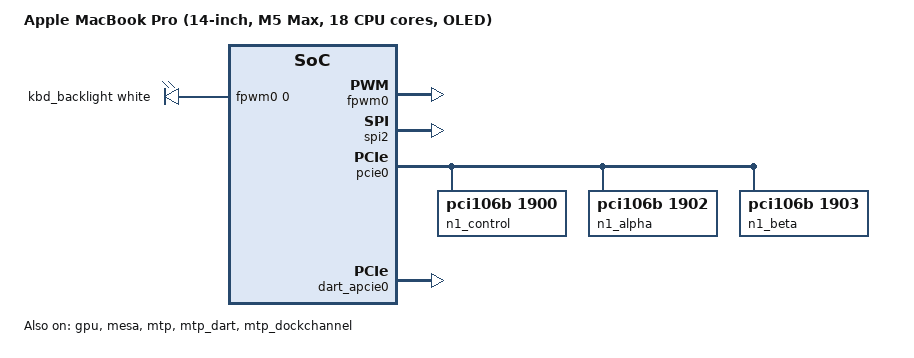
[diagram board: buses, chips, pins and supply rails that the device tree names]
// SPDX-License-Identifier: GPL-2.0+ OR MIT
/*
 * Apple MacBook Pro (14-inch, M5 Max, 18 CPU cores, OLED)
 *
 * target-type: K114c
 *
 * Initial RAM boot resources measured on the K114c (ADT ioreg gather of
 * 2026-11-10). The loader supplies usable memory, CPU release addresses and
 * framebuffer geometry. Peripheral power domains come from t6050-pmgr.dtsi;
 * the framebuffer holds the display domain.
 *
 * Compared with Edi Moldovan's J714c this board file leaves out, with
 * reasons:
 * - the DCP display pipeline (his t6050-j714c-display.dtsi): the console
 *   runs on the simple framebuffer the loader fills, and the K114c's OLED
 *   panel and DCP firmware segment table have not been measured, so there
 *   is no K114c display dtsi to include;
 * - the GPU (gfx/gfx1 mbox, gpu): enabled here for the K114c GPU bring-up
 *   (Main 15:49 CST); the loader-side ADT validation (dt_set_gpu_g17) must
 *   pass on this machine or the boot firmware disables the nodes again;
 * - the PMP (t6050-pmp.dtsi and his pmp-tunables): not needed to boot, and
 *   this K114c's ADT has no pmp device node at all;
 * - the camera and ISP (his t6050-j714c-isp.dtsi): no K114c camera values
 *   measured;
 * - audio (I2C amps and jack codec, the AOP, the sound card): out of scope
 *   for this bring-up and the K114c ADT amplifier layout is unmeasured.
 */

/dts-v1/;

#include <dt-bindings/gpio/gpio.h>
#include <dt-bindings/interrupt-controller/apple-aic.h>
#include <dt-bindings/interrupt-controller/irq.h>
#include <dt-bindings/leds/common.h>

#include "t6050.dtsi"
#include "t6050-smc.dtsi"
#include "t6050-gpu.dtsi"

/* GPU bring-up (Main 15:49 CST): enable the GPU and its mailboxes. The
 * UAT reserved-memory nodes are defined in t6050-gpu.dtsi with zero
 * addresses; the loader (dt_set_gpu_g17) fills them from the ADT at
 * boot. If it does not, the driver logs "failed to reserve memory for
 * node uat-*" and the GPU stays down. */
&gfx_mbox {
	status = "okay";
};

&gfx1_mbox {
	status = "okay";
};

&gpu {
	status = "okay";
};

/ {
	compatible = "apple,k114c", "apple,t6050", "apple,arm-platform";
	model = "Apple MacBook Pro (14-inch, M5 Max, 18 CPU cores, OLED)";

	#address-cells = <2>;
	#size-cells = <2>;
	interrupt-parent = <&aic>;

	aliases {
		keyboard = &keyboard;
		serial0 = &serial0;
		/* kboot fills the N1's factory addresses from /chosen through these */
		wifi0 = &n1_alpha;
		bluetooth0 = &n1_beta;
	};

	chosen {
		#address-cells = <2>;
		#size-cells = <2>;
		ranges;

		stdout-path = "serial0:1500000n8";

		framebuffer0: framebuffer@0 {
			compatible = "apple,simple-framebuffer", "simple-framebuffer";
			reg = <0 0 0 0>; /* Filled by the loader. */
			status = "okay"; /* m1n1 only enables it on chips it knows. */
			power-domains = <&ps_disp_cpu>;
			apple,internal-panel; /* simpledrm reports it as eDP */
		};
	};

	memory@10000000000 {
		device_type = "memory";
		reg = <0x100 0 0 0>; /* Filled by the loader. */
	};

	led-controller {
		compatible = "pwm-leds";
		led-0 {
			pwms = <&fpwm0 0 40000>;
			label = "kbd_backlight";
			function = LED_FUNCTION_KBD_BACKLIGHT;
			color = <LED_COLOR_ID_WHITE>;
			max-brightness = <255>;
			default-state = "keep";
		};
	};
};

&fpwm0 {
	status = "okay";
};

/*
 * Mesa fingerprint sensor on spi2 (K114c ADT /arm-io/spi2/mesa): power on is
 * NUB GPIO 21 (function-mesa_pwr), no data-ready line wired here, so the
 * driver polls. firmware-name is left out until this Mac's calibration
 * blob is extracted from its own iBoot container.
 */
&pinctrl_nub {
	status = "okay";
};

&spi2 {
	status = "okay";
};

&mesa {
	status = "okay";
	enable-gpios = <&pinctrl_nub 21 GPIO_ACTIVE_HIGH>;
	spi-cs-setup-delay-ns = <20>;
	spi-cs-hold-delay-ns = <20>;
};

&mtp {
	status = "okay";
};

/* The AP GPIO controller: the N1's PERST# is GPIO 80 on it, so pcie-apple defers until it binds. */
&pinctrl_ap {
	status = "okay";
};

&mtp_mbox {
	status = "okay";
};

&mtp_dart {
	status = "okay";
};

&mtp_dockchannel {
	status = "okay";
};

&mtp_hid {
	/*
	 * ADT multi-touch function-afe-reset = smc-pmu pKW8('pcIO', 0x10000,
	 * 0x11c0000), SMC pcIO output 28; level 1 asserts the reset. Left to
	 * the MTP firmware, the AFE sometimes never answers ("No HINT_L").
	 */
	apple,afe-reset-gpios = <&smc_gpio 28 GPIO_ACTIVE_HIGH>;

	mtp_mt: multi-touch {
		firmware-name = "apple/tpmtfw-k114c.bin";
		apple,power-method = <2>;
	};

	keyboard: keyboard {
		hid-country-code = <0>;
		apple,keyboard-layout-id = <0>;
	};

	stm {
	};

	actuator {
	};

	tp_accel {
	};
};

#include "hwmon-common.dtsi"
#include "hwmon-fan-dual.dtsi"
#include "hwmon-laptop.dtsi"

/*
 * The T6050 SMC spells the fan mode keys F0md/F1md; F0Md/F1Md from
 * hwmon-fan*.dtsi do not exist (as on the J714c).
 */
&smc_hwmon {
	fan-F0Ac {
		apple,fan-mode = "F0md";
	};

	fan-F1Ac {
		apple,fan-mode = "F1md";
	};
};


#include "t6050-k114c-usb2.dtsi"
/*
 * iBoot leaves the N1 port's gates in automatic power management with the
 * target on and the block gated (APCIE_SYS_GP and APHY_GP_AUS5 actual 0,
 * APCIE_PHY_SW actual 4). The kernel trains the port, so these gates stay
 * at the requested state.
 */
&ps_apcie_sys_gp {
	apple,no-auto-pm;
};

&ps_apcie_phy_sw {
	apple,no-auto-pm;
};

&ps_aphy_gp_aus5 {
	apple,no-auto-pm;
};

/*
 * The N1 (Wi-Fi and Bluetooth) on apcie0 port 0, the same port, registers
 * and pins as the J714c (K114c ADT 2026-11-10: pci-bridge0 function-perst =
 * GPIO 80, function-reset = pKW4('gP13', ...), so SMC GPIO 19; dart-apcie0
 * AIC 1524; apcie0 port0 AIC 1523; msi-vector-offset 1824 with pci-bridge0
 * owning 32 vectors; root board-id 0x04). iBoot leaves the port untrained
 * and the N1 off (SMC GPIO gP13 low, PERST# GPIO 80 low); the kernel trains
 * it (apple_pcie_t6050_cold_train, entered when adopt finds the link down
 * and the port names pwren-gpios; apple,link-trained-by-bootloader is the
 * adopt path's port-validity flag, not a claim about who trained it).
 * Platform id = (board-id 0x04 << 16) | 0x6050 by the J714c/J716c rule; the
 * FTAB comes from the macOS install and is not shipped by anyone.
 */
&pcie0 {
	reg = <0x1c 0xb0000000 0x0 0x10000000>,		/* ADT reg[0] */
	      <0x4 0x14000000 0x0 0x4000>,		/* ADT reg[1] */
	      <0x4 0x10028000 0x0 0x8000>,		/* ADT reg[16] */
	      <0x4 0x17010000 0x0 0x4000>,		/* ADT reg[18] */
	      <0x4 0x10024000 0x0 0x4000>,		/* ADT reg[19] */
	      <0x4 0x17020000 0x0 0x4000>,		/* ADT reg[3] */
	      <0x4 0x17004000 0x0 0x4000>,		/* phy-common: ADT reg[2] + 0x4000 */
	      <0x4 0x16000000 0x0 0x1000000>,		/* ADT reg[5]: K114c size */
	      <0x4 0x15044000 0x0 0x4000>,		/* ADT reg[6] */
	      <0x4 0x17000000 0x0 0x800000>,		/* ADT reg[2]: K114c size */
	      <0x4 0x17800000 0x0 0x1b4000>;		/* ADT reg[4] */
	reg-names = "config", "rc", "port0", "phy0", "intr2axi0", "phy-shared", "phy-common",
		    "axi2af", "pcieclkgen", "phy-window", "phy-ip";
	interrupts = <AIC_IRQ 1523 IRQ_TYPE_LEVEL_HIGH>;
	interrupt-names = "port0";

	/* The N1's three functions are on DART streams 1-3 */
	iommu-map = <0x100 &dart_apcie0 1 3>;
	bus-range = <0 8>; /* ADT bus-range 0x0,0x8 (the J714c's says 0-4) */

	port00: pci@0,0 {
		device_type = "pci";
		reg = <0x0 0 0 0 0>;
		bus-range = <1 1>;
		apple,link-trained-by-bootloader;
		/* PERST#, for the kernel's train and the root-port reset after the N1's ROM stage */
		reset-gpios = <&pinctrl_ap 80 GPIO_ACTIVE_LOW>;
		/* The N1's power/reset: ADT function-reset = pKW4('gP13', ...), SMC GPIO pin 0x13 */
		pwren-gpios = <&smc_gpio 19 GPIO_ACTIVE_HIGH>;
		status = "okay";

		#address-cells = <3>;
		#size-cells = <2>;
		ranges;

		interrupt-controller;
		#interrupt-cells = <1>;
		interrupt-map-mask = <0 0 0 7>;
		interrupt-map = <0 0 0 1 &port00 0 0 0 0>,
				<0 0 0 2 &port00 0 0 0 1>,
				<0 0 0 3 &port00 0 0 0 2>,
				<0 0 0 4 &port00 0 0 0 3>;

		n1_control: control@0,0 {
			compatible = "pci106b,1900";
			reg = <0x10000 0x0 0x0 0x0 0x0>;
			firmware-name = "apple/centauri/k114c-ftab.bin";
			apple,centauri-platform-id = <0x00046050>;
			apple,centauri-protocol = <27>;
		};

		n1_alpha: wifi@0,1 {
			compatible = "pci106b,1902";
			reg = <0x10100 0x0 0x0 0x0 0x0>;
			local-mac-address = [00 00 00 00 00 00];
		};

		n1_beta: bluetooth@0,2 {
			compatible = "pci106b,1903";
			reg = <0x10200 0x0 0x0 0x0 0x0>;
			local-bd-address = [00 00 00 00 00 00];
		};
	};
};

&dart_apcie0 {
	status = "okay";
};

#include "t6050-j714c-pcie-tunables.dtsi"
#include "t6050-k114c-pcie-tunables.dtsi"
#include "t6050-k114c-isp.dtsi"
